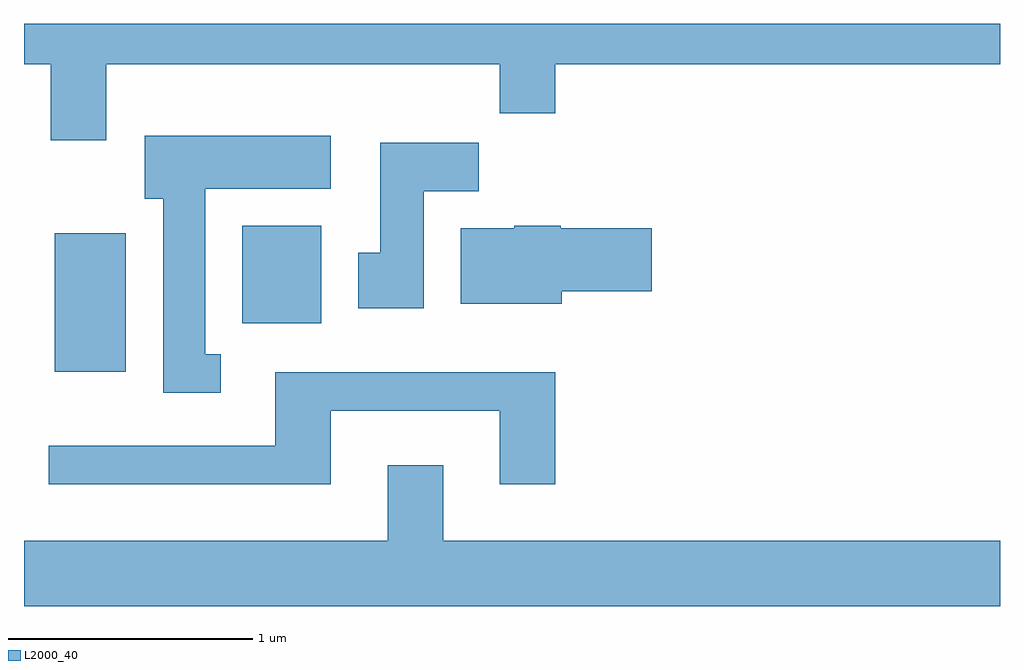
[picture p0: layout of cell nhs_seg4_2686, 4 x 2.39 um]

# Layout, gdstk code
import gdstk
lib = gdstk.Library(unit=1e-6, precision=1e-09)
def R(c, l, rs):  # rectangles x0, y0, x1, y1
    for r in rs: c.add(gdstk.rectangle(r[:2], r[2:], *l))
def P(c, l, *ps):  # polygons
    for p in ps: c.add(gdstk.Polygon(p, *l))
L2000_40 = (2000, 40)

nhs_seg4_2686 = lib.new_cell('nhs_seg4_2686')
R(nhs_seg4_2686, L2000_40, [(263.736,1324.556,264.029,1325.124), (264.506,1324.756,264.829,1325.154)])
P(nhs_seg4_2686, L2000_40, [(263.949,1325.816),(265.561,1325.816),(265.561,1325.616),(265.789,1325.616),(265.789,1325.816),(267.611,1325.816),(267.611,1325.982),(263.611,1325.982),(263.611,1325.816),(263.721,1325.816),(263.721,1325.506),(263.949,1325.506)],
  [(264.418,1324.629),(264.354,1324.629),(264.354,1325.306),(264.869,1325.306),(264.869,1325.524),(264.106,1325.524),(264.106,1325.266),(264.181,1325.266),(264.181,1324.471),(264.418,1324.471)],
  [(265.249,1325.296),(265.474,1325.296),(265.474,1325.494),(265.071,1325.494),(265.071,1325.044),(264.981,1325.044),(264.981,1324.816),(265.249,1324.816)],
  [(265.814,1324.886),(266.184,1324.886),(266.184,1325.144),(265.81,1325.144),(265.81,1325.154),(265.62,1325.154),(265.62,1325.144),(265.401,1325.144),(265.401,1324.836),(265.814,1324.836)],
  [(264.869,1324.396),(265.561,1324.396),(265.561,1324.096),(265.789,1324.096),(265.789,1324.554),(264.641,1324.554),(264.641,1324.254),(263.713,1324.254),(263.713,1324.096),(264.869,1324.096)],
  [(267.611,1323.864),(265.329,1323.864),(265.329,1324.174),(265.101,1324.174),(265.101,1323.864),(263.611,1323.864),(263.611,1323.596),(267.611,1323.596)])

lib.write_gds('nhs_seg4_2686.gds')
